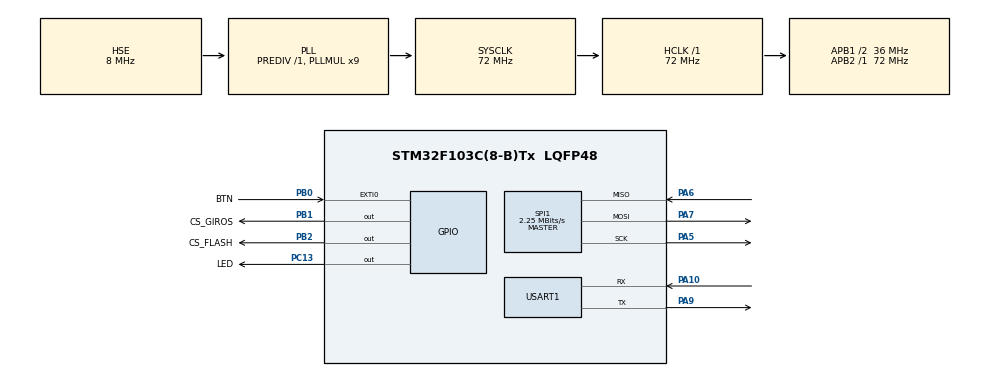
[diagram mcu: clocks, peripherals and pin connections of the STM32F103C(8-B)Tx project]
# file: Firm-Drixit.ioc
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Mcu.Family=STM32F1
RCC.PLLSourceVirtual=RCC_PLLSOURCE_HSE
PA6.Mode=Full_Duplex_Master
PA7.Mode=Full_Duplex_Master
PD1-OSC_OUT.Mode=HSE-External-Oscillator
PA10.Mode=Asynchronous
SPI1.VirtualType=VM_MASTER
PC13-TAMPER-RTC.Signal=GPIO_Output
PB0.GPIO_Label=BTN
PD0-OSC_IN.Signal=RCC_OSC_IN
RCC.APB1CLKDivider=RCC_HCLK_DIV2
RCC.SYSCLKSource=RCC_SYSCLKSOURCE_PLLCLK
ProjectManager.StackSize=0x400
PD1-OSC_OUT.Signal=RCC_OSC_OUT
PA13.Signal=SYS_JTMS-SWDIO
PA9.Mode=Asynchronous
TIM1.Prescaler=7200-1
ProjectManager.TargetToolchain=STM32CubeIDE
SPI1.Direction=SPI_DIRECTION_2LINES
RCC.HCLKFreq_Value=72000000
RCC.APB2TimFreq_Value=72000000
PA9.Signal=USART1_TX
SPI1.CalculateBaudRate=2.25 MBits/s
RCC.USBFreq_Value=72000000
RCC.AHBFreq_Value=72000000
PD0-OSC_IN.Mode=HSE-External-Oscillator
PA5.Signal=SPI1_SCK
PB2.Signal=GPIO_Output
board=custom
PC13-TAMPER-RTC.GPIO_Label=LED
RCC.PLLMUL=RCC_PLL_MUL9
RCC.APB2Freq_Value=72000000
SPI1.Mode=SPI_MODE_MASTER
PA14.Mode=Serial_Wire
PB1.GPIO_Label=CS_GIROS
PA13.Mode=Serial_Wire
Mcu.Name=STM32F103C(8-B)Tx
VP_TIM1_VS_ClockSourceINT.Mode=Internal
NVIC.EXTI0_IRQn=true\:15\:0\:true\:false\:true\:true\:true
RCC.SYSCLKFreq_VALUE=72000000
Mcu.Package=LQFP48
PA6.Signal=SPI1_MISO
PB1.Signal=GPIO_Output
USART1.VirtualMode=VM_ASYNC
PA10.Signal=USART1_RX
PA14.Signal=SYS_JTCK-SWCLK
PB2.GPIO_Label=CS_FLASH
ProjectManager.HeapSize=0x200
NVIC.PriorityGroup=NVIC_PRIORITYGROUP_4
RCC.APB1TimFreq_Value=72000000
NVIC.USART1_IRQn=true\:14\:0\:true\:false\:true\:true\:true
RCC.APB1Freq_Value=36000000
SPI1.BaudRatePrescaler=SPI_BAUDRATEPRESCALER_32
PB0.Signal=GPXTI0
PA5.Mode=Full_Duplex_Master
PA7.Signal=SPI1_MOSI

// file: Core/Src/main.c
/* USER CODE BEGIN Header */
/**
  ******************************************************************************
  * @file           : main.c
  * @brief          : Main program body
  ******************************************************************************
  * @attention
  *
  * <h2><center>&copy; Copyright (c) 2024 STMicroelectronics.
  * All rights reserved.</center></h2>
  *
  * This software component is licensed by ST under BSD 3-Clause license,
  * the "License"; You may not use this file except in compliance with the
  * License. You may obtain a copy of the License at:
  *                        opensource.org/licenses/BSD-3-Clause
  *
  ******************************************************************************
  */
/* USER CODE END Header */
#include "main.h"

/* USER CODE BEGIN Includes */
#include "FreeRTOS.h"
#include "task.h"
#include "queue.h"
#include "semphr.h"

#include "strings.h"

#include "LIS3MDL.h"
#include "W25Q80.h"
/* USER CODE END Includes */

/* USER CODE BEGIN PTD */
typedef struct {
	int32_t ID;
	int16_t axis_X;
	int16_t axis_Y;
	int16_t axis_Z;
	int16_t temp;
} __attribute__((aligned(16))) DATA_STORED; //12 Adding 4bytes to align it to 16(32) to make faster operations

/* USER CODE END PTD */

/* USER CODE BEGIN PD */
#define DATA_SIZE_STORAGE 16 //BYTES
#define FLASH_MAX_BYTES 1048576
#define FLASH_MAX_DATA (FLASH_MAX_BYTES -256 -DATA_SIZE_STORAGE)/DATA_SIZE_STORAGE //Minus the first page(256pytes)- data size
// We´ll reserve the first page for Address index and other possible records (firmware version-features)
// This will leave 65,280 entries of data (ID+AXIS XYZ + TEMP)
#define FLASH_BASE_DATA 0x100
#define FLASH_CLEAR 0x10000 //After the 65,280 bytes of data length that the index can take
/* USER CODE END PD */

SPI_HandleTypeDef hspi1;

TIM_HandleTypeDef htim1;

UART_HandleTypeDef huart1;

/* USER CODE BEGIN PV */
QueueHandle_t queue_read_ID;
SemaphoreHandle_t sem_get_data;

uint8_t recv_uart;
DATA_STORED Data2Write; //STORE THE LAST DATA FROM THE SENSOR
const uint32_t Index_Add = 0; //First entry for memory ADDRES Index

/* USER CODE END PV */

void SystemClock_Config(void);
static void MX_GPIO_Init(void);
static void MX_SPI1_Init(void);
static void MX_TIM1_Init(void);
static void MX_USART1_UART_Init(void);
/* USER CODE BEGIN PFP */
uint32_t GET_addres_from_id(uint32_t ID);
uint32_t GET_id_from_addres(uint32_t ADD);

static void tsk_Store_Data(void *pvParameters);
static void tsk_Flash_Read(void *pvParameters);

/* USER CODE END PFP */

/* USER CODE BEGIN 0 */
/*Functions
 *
 */
uint32_t GET_addres_from_id(uint32_t ID){
	return FLASH_BASE_DATA + (ID-1)*DATA_SIZE_STORAGE;
}
uint32_t GET_id_from_addres(uint32_t ADD){
	return ((ADD>>8 -1)*16 + ( ADD & 0xFF )/16 +1);
}
/*Tasks
 *
 */
static void tsk_Store_Data (void *pvParameters){
	BaseType_t _ret = pdFALSE;
	LIS3_DATA DataSensored;

	uint32_t ADD_Last_Entry; //Address of last entry

	W25Q_Read_data((uint8_t *)&ADD_Last_Entry, Index_Add, 4); //4BYTES

	//If the flash memory has been erased and not properly initialized
	if (0xFFFFFFFF == ADD_Last_Entry){
		ADD_Last_Entry = FLASH_BASE_DATA; //It was erased but the index wasn't reseted
	}

	while (1){
		HAL_GPIO_TogglePin(LED_GPIO_Port, LED_Pin);//test
		xSemaphoreTake(sem_get_data, portMAX_DELAY); //Unblock each 1s
		DataSensored = LIS3MDL_Get_XYZT();

		if( FLASH_MAX_DATA > (ADD_Last_Entry + DATA_SIZE_STORAGE) ){
			taskENTER_CRITICAL();
			ADD_Last_Entry += DATA_SIZE_STORAGE;//Add 16 to address

			Data2Write.axis_X = DataSensored.axis_X;
			Data2Write.axis_Y = DataSensored.axis_Y;
			Data2Write.axis_Z = DataSensored.axis_Z;
			Data2Write.temp   = DataSensored.temp;
/*							|| page #1 ->256 -> (1-1)*16 =0 || Offset 0x0000FF/16 EACH ENTRY	*/
//			Data2Write.ID     = (ADD_Last_Entry>>8 -1)*16 + ( ADD_Last_Entry&0xFF )/16 +1;
			Data2Write.ID     = GET_id_from_addres(ADD_Last_Entry);

			W25Q_Write_data((uint8_t *)&Data2Write, ADD_Last_Entry, DATA_SIZE_STORAGE);
			W25Q_Write_data((uint8_t *)&ADD_Last_Entry, Index_Add , 4); //Store the address of last entry into the Index

			taskEXIT_CRITICAL();
		}
		else{
			//TODO: MSG "NO GRABO"
			//TODO: RESET ID & Address of last entry?
		}
		UNUSED(_ret);
	}
	vTaskDelete( NULL ); //SAFETY
}

static void tsk_Flash_Read (void *pvParameters){
	HAL_StatusTypeDef ret_state;
	BaseType_t _ret = pdFALSE;
	uint32_t read_ID;
	DATA_STORED DATA;

	while (1){
		HAL_GPIO_TogglePin(LED_GPIO_Port, LED_Pin);//test
		xQueueReceive(queue_read_ID, &read_ID, HAL_MAX_DELAY);

		taskENTER_CRITICAL();
		ret_state = W25Q_Read_data((uint8_t *)&DATA, GET_addres_from_id(read_ID), DATA_SIZE_STORAGE);
		//TODO: Check if the ID that was retrieved is the same as the requested
		ret_state = HAL_UART_Transmit(&huart1, (uint8_t *)&DATA, 12, HAL_MAX_DELAY);
		taskEXIT_CRITICAL();

		UNUSED(ret_state);
		UNUSED(_ret);
	}
	vTaskDelete( NULL ); //SAFETY
}

//UART INTERRUPT
void HAL_UART_RxCpltCallback(UART_HandleTypeDef *huart){
	BaseType_t pxHigherPriorityTaskWoken = pdFALSE, ret_queue;

	if( USART1 == huart->Instance){
		HAL_GPIO_TogglePin(LED_GPIO_Port, LED_Pin);//test

		if ( (0 < recv_uart) && (recv_uart <= Data2Write.ID) && ( recv_uart < FLASH_MAX_DATA) ){
			ret_queue = xQueueSendFromISR(queue_read_ID, &recv_uart, &pxHigherPriorityTaskWoken);
			portEND_SWITCHING_ISR(pxHigherPriorityTaskWoken);
			UNUSED(ret_queue);
		}
		else{
			if( recv_uart < FLASH_MAX_DATA){ //Still in the valid range of index
				char msg[] = "ERROR: ID NOT FOUND\n";
				HAL_UART_Transmit(&huart1, (uint8_t)&msg, 20, HAL_MAX_DELAY);
			}
// Clear instructions from UART
			if(recv_uart == FLASH_CLEAR){
				W25Q80_Full_Erase();
				W25Q_Write_data(&FLASH_BASE_DATA, ADD_Index, 4);
			}
			else{
				char msg[] = "ERROR\n";
				HAL_UART_Transmit(&huart1, (uint8_t)&msg, 20, HAL_MAX_DELAY);

			}
		}
	}
}
// BUTON INTERRUPT
void HAL_GPIO_EXTI_Callback(uint16_t GPIO_Pin){
	HAL_StatusTypeDef ret_state;

	HAL_GPIO_TogglePin(LED_GPIO_Port, LED_Pin);//test
	//We send immediately the last data from the sensor instead of reading the flash memory
	ret_state = HAL_UART_Transmit_IT(&huart1, (uint8_t *)&Data2Write, 12);//We will send 12 bytes not the 16 aligned
	UNUSED(ret_state);
}
// TIMER INTERRUPT
void HAL_TIM_PeriodElapsedCallback(TIM_HandleTypeDef *htim){
	BaseType_t pxHigherPriorityTaskWoken = pdFALSE;

	if(htim->Instance == TIM1){
		HAL_GPIO_TogglePin(LED_GPIO_Port, LED_Pin);//test

		xSemaphoreGiveFromISR(sem_get_data, &pxHigherPriorityTaskWoken);
		portEND_SWITCHING_ISR(pxHigherPriorityTaskWoken);
	}
}
/* USER CODE END 0 */

int main(void)
{

  /* MCU Configuration--------------------------------------------------------*/

  /* Reset of all peripherals, Initializes the Flash interface and the Systick. */
  HAL_Init();

  /* USER CODE BEGIN Init */

  queue_read_ID = xQueueCreate(1, sizeof(recv_uart));

  vSemaphoreCreateBinary(sem_get_data);

  /* USER CODE END Init */

  /* Configure the system clock */
  SystemClock_Config();

  /* Initialize all configured peripherals */
  MX_GPIO_Init();
  MX_SPI1_Init();
  MX_TIM1_Init();
  MX_USART1_UART_Init();
  /* USER CODE BEGIN 2 */

  //Init sensor
  LIS3MDL_init(&hspi1, CS_GIROS_GPIO_Port, CS_GIROS_Pin);
  LIS3MDL_config();
  //Init flash mem
  W25Q_Init(&hspi1,CS_GIROS_GPIO_Port, CS_GIROS_Pin);
  //Int.
  HAL_StatusTypeDef ret_state;
  BaseType_t _ret = pdFALSE;

  ret_state = HAL_TIM_Base_Start_IT(&htim1);//TIMER1 Interrupt call
  ret_state = HAL_UART_Receive_IT(&huart1, &recv_uart, 4); //UART1 Interrupt call - 4bytes
//TODO: check the interrupts starts
  UNUSED(ret_state);

  _ret = xTaskCreate(tsk_Store_Data,
						"",
						configMINIMAL_STACK_SIZE,
						NULL,
						tskIDLE_PRIORITY + 2,
						NULL);

  if (pdFALSE == _ret){
//	  TODO: error
  }
  _ret = xTaskCreate(tsk_Flash_Read,
						"",
						configMINIMAL_STACK_SIZE,
						NULL,
						tskIDLE_PRIORITY + 1,
						NULL);

  if (pdFALSE == _ret){
//	  TODO: error
  }

  vTaskStartScheduler();
  /* USER CODE END 2 */

  /* Infinite loop */
  while (1)
  {

  }
}

void SystemClock_Config(void)
{
  RCC_OscInitTypeDef RCC_OscInitStruct = {0};
  RCC_ClkInitTypeDef RCC_ClkInitStruct = {0};

  /** Initializes the RCC Oscillators according to the specified parameters
  * in the RCC_OscInitTypeDef structure.
  */
  RCC_OscInitStruct.OscillatorType = RCC_OSCILLATORTYPE_HSE;
  RCC_OscInitStruct.HSEState = RCC_HSE_ON;
  RCC_OscInitStruct.HSEPredivValue = RCC_HSE_PREDIV_DIV1;
  RCC_OscInitStruct.HSIState = RCC_HSI_ON;
  RCC_OscInitStruct.PLL.PLLState = RCC_PLL_ON;
  RCC_OscInitStruct.PLL.PLLSource = RCC_PLLSOURCE_HSE;
  RCC_OscInitStruct.PLL.PLLMUL = RCC_PLL_MUL9;
  if (HAL_RCC_OscConfig(&RCC_OscInitStruct) != HAL_OK)
  {
    Error_Handler();
  }
  /** Initializes the CPU, AHB and APB buses clocks
  */
  RCC_ClkInitStruct.ClockType = RCC_CLOCKTYPE_HCLK|RCC_CLOCKTYPE_SYSCLK
                              |RCC_CLOCKTYPE_PCLK1|RCC_CLOCKTYPE_PCLK2;
  RCC_ClkInitStruct.SYSCLKSource = RCC_SYSCLKSOURCE_PLLCLK;
  RCC_ClkInitStruct.AHBCLKDivider = RCC_SYSCLK_DIV1;
  RCC_ClkInitStruct.APB1CLKDivider = RCC_HCLK_DIV2;
  RCC_ClkInitStruct.APB2CLKDivider = RCC_HCLK_DIV1;

  if (HAL_RCC_ClockConfig(&RCC_ClkInitStruct, FLASH_LATENCY_2) != HAL_OK)
  {
    Error_Handler();
  }
}

static void MX_SPI1_Init(void)
{

  /* SPI1 parameter configuration*/
  hspi1.Instance = SPI1;
  hspi1.Init.Mode = SPI_MODE_MASTER;
  hspi1.Init.Direction = SPI_DIRECTION_2LINES;
  hspi1.Init.DataSize = SPI_DATASIZE_8BIT;
  hspi1.Init.CLKPolarity = SPI_POLARITY_LOW;
  hspi1.Init.CLKPhase = SPI_PHASE_1EDGE;
  hspi1.Init.NSS = SPI_NSS_SOFT;
  hspi1.Init.BaudRatePrescaler = SPI_BAUDRATEPRESCALER_32;
  hspi1.Init.FirstBit = SPI_FIRSTBIT_MSB;
  hspi1.Init.TIMode = SPI_TIMODE_DISABLE;
  hspi1.Init.CRCCalculation = SPI_CRCCALCULATION_DISABLE;
  hspi1.Init.CRCPolynomial = 10;
  if (HAL_SPI_Init(&hspi1) != HAL_OK)
  {
    Error_Handler();
  }

}

static void MX_TIM1_Init(void)
{

  TIM_ClockConfigTypeDef sClockSourceConfig = {0};
  TIM_MasterConfigTypeDef sMasterConfig = {0};

  htim1.Instance = TIM1;
  htim1.Init.Prescaler = 7200-1;
  htim1.Init.CounterMode = TIM_COUNTERMODE_UP;
  htim1.Init.Period = 65535;
  htim1.Init.ClockDivision = TIM_CLOCKDIVISION_DIV1;
  htim1.Init.RepetitionCounter = 0;
  htim1.Init.AutoReloadPreload = TIM_AUTORELOAD_PRELOAD_DISABLE;
  if (HAL_TIM_Base_Init(&htim1) != HAL_OK)
  {
    Error_Handler();
  }
  sClockSourceConfig.ClockSource = TIM_CLOCKSOURCE_INTERNAL;
  if (HAL_TIM_ConfigClockSource(&htim1, &sClockSourceConfig) != HAL_OK)
  {
    Error_Handler();
  }
  sMasterConfig.MasterOutputTrigger = TIM_TRGO_RESET;
  sMasterConfig.MasterSlaveMode = TIM_MASTERSLAVEMODE_DISABLE;
  if (HAL_TIMEx_MasterConfigSynchronization(&htim1, &sMasterConfig) != HAL_OK)
  {
    Error_Handler();
  }

}

static void MX_USART1_UART_Init(void)
{

  huart1.Instance = USART1;
  huart1.Init.BaudRate = 115200;
  huart1.Init.WordLength = UART_WORDLENGTH_8B;
  huart1.Init.StopBits = UART_STOPBITS_1;
  huart1.Init.Parity = UART_PARITY_NONE;
  huart1.Init.Mode = UART_MODE_TX_RX;
  huart1.Init.HwFlowCtl = UART_HWCONTROL_NONE;
  huart1.Init.OverSampling = UART_OVERSAMPLING_16;
  if (HAL_UART_Init(&huart1) != HAL_OK)
  {
    Error_Handler();
  }

}

static void MX_GPIO_Init(void)
{
  GPIO_InitTypeDef GPIO_InitStruct = {0};

  /* GPIO Ports Clock Enable */
  __HAL_RCC_GPIOC_CLK_ENABLE();
  __HAL_RCC_GPIOD_CLK_ENABLE();
  __HAL_RCC_GPIOA_CLK_ENABLE();
  __HAL_RCC_GPIOB_CLK_ENABLE();

  /*Configure GPIO pin Output Level */
  HAL_GPIO_WritePin(LED_GPIO_Port, LED_Pin, GPIO_PIN_RESET);

  /*Configure GPIO pin Output Level */
  HAL_GPIO_WritePin(GPIOB, CS_GIROS_Pin|CS_FLASH_Pin, GPIO_PIN_RESET);

  /*Configure GPIO pin : LED_Pin */
  GPIO_InitStruct.Pin = LED_Pin;
  GPIO_InitStruct.Mode = GPIO_MODE_OUTPUT_PP;
  GPIO_InitStruct.Pull = GPIO_NOPULL;
  GPIO_InitStruct.Speed = GPIO_SPEED_FREQ_LOW;
  HAL_GPIO_Init(LED_GPIO_Port, &GPIO_InitStruct);

  /*Configure GPIO pin : BTN_Pin */
  GPIO_InitStruct.Pin = BTN_Pin;
  GPIO_InitStruct.Mode = GPIO_MODE_IT_RISING;
  GPIO_InitStruct.Pull = GPIO_NOPULL;
  HAL_GPIO_Init(BTN_GPIO_Port, &GPIO_InitStruct);

  /*Configure GPIO pins : CS_GIROS_Pin CS_FLASH_Pin */
  GPIO_InitStruct.Pin = CS_GIROS_Pin|CS_FLASH_Pin;
  GPIO_InitStruct.Mode = GPIO_MODE_OUTPUT_PP;
  GPIO_InitStruct.Pull = GPIO_NOPULL;
  GPIO_InitStruct.Speed = GPIO_SPEED_FREQ_LOW;
  HAL_GPIO_Init(GPIOB, &GPIO_InitStruct);

  /* EXTI interrupt init*/
  HAL_NVIC_SetPriority(EXTI0_IRQn, 15, 0);
  HAL_NVIC_EnableIRQ(EXTI0_IRQn);

}

void Error_Handler(void)
{
  __disable_irq();
  while (1)
  {
  }
}

/************************ (C) COPYRIGHT STMicroelectronics *****END OF FILE****/
